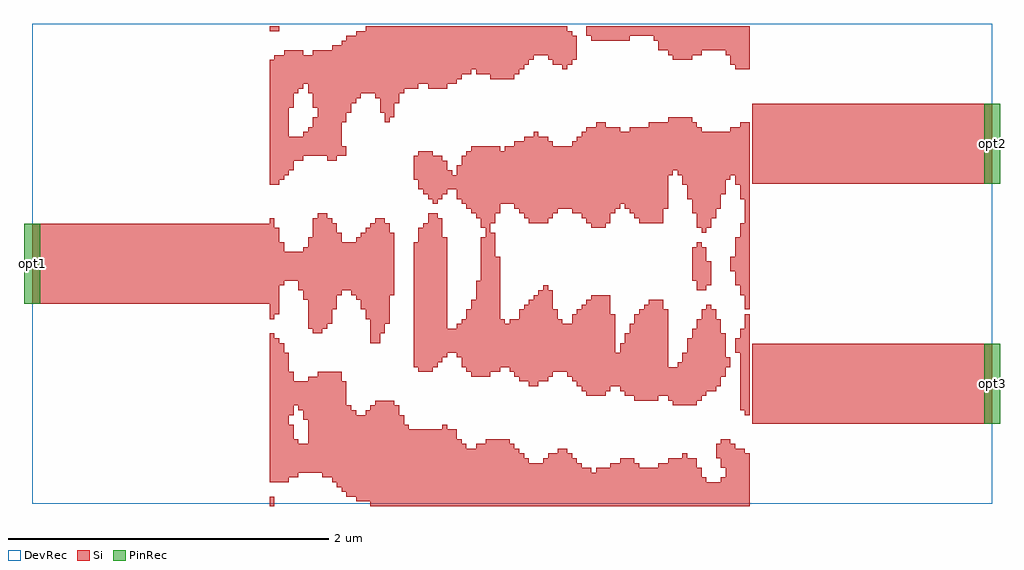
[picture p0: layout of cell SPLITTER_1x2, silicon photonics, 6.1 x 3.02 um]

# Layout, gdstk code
import gdstk
lib = gdstk.Library(unit=1e-6, precision=1e-09)
def R(c, l, rs):  # rectangles x0, y0, x1, y1
    for r in rs: c.add(gdstk.rectangle(r[:2], r[2:], *l))
def A(c, l, x, y, w, h, nx, ny, dx, dy):  # array of equal rectangles
    R(c, l, [(x+i*dx, y+j*dy, x+i*dx+w, y+j*dy+h) for i in range(nx) for j in range(ny)])
Si = (1, 0)
PinRec = (1, 10)
DevRec = (68, 0)

splitter_1x2 = lib.new_cell('SPLITTER_1x2')
A(splitter_1x2, Si, -0.885, -1.515, 0.03, 0.03, 79, 1, 0.03, 0)
A(splitter_1x2, Si, -0.975, -1.485, 0.03, 0.03, 82, 1, 0.03, 0)
A(splitter_1x2, Si, -1.035, -1.455, 0.03, 0.03, 84, 1, 0.03, 0)
A(splitter_1x2, Si, -1.065, -1.425, 0.03, 0.03, 85, 1, 0.03, 0)
A(splitter_1x2, Si, -1.095, -1.395, 0.03, 0.03, 86, 1, 0.03, 0)
A(splitter_1x2, Si, -1.515, -1.365, 0.03, 0.03, 4, 2, 0.03, 0.36)
A(splitter_1x2, Si, -1.125, -1.365, 0.03, 0.03, 78, 1, 0.03, 0)
A(splitter_1x2, Si, 1.305, -1.365, 0.03, 0.03, 6, 2, 0.03, 0.09)
A(splitter_1x2, Si, -1.515, -1.335, 0.03, 0.03, 6, 2, 0.03, 0.21)
A(splitter_1x2, Si, -1.185, -1.335, 0.03, 0.03, 79, 1, 0.03, 0)
A(splitter_1x2, Si, 1.335, -1.335, 0.03, 0.03, 5, 2, 0.03, 0.03)
A(splitter_1x2, Si, -1.515, -1.305, 0.03, 0.03, 67, 1, 0.03, 0)
A(splitter_1x2, Si, 0.525, -1.305, 0.03, 0.03, 22, 1, 0.03, 0)
A(splitter_1x2, Si, -1.515, -1.275, 0.03, 0.03, 65, 1, 0.03, 0)
A(splitter_1x2, Si, 0.615, -1.275, 0.03, 0.03, 6, 1, 0.03, 0)
A(splitter_1x2, Si, 0.915, -1.275, 0.03, 0.03, 8, 1, 0.03, 0)
A(splitter_1x2, Si, -1.515, -1.245, 0.03, 0.03, 54, 2, 0.03, 2.49)
A(splitter_1x2, Si, 0.195, -1.245, 0.03, 0.03, 7, 1, 0.03, 0)
A(splitter_1x2, Si, 0.675, -1.245, 0.03, 0.03, 3, 1, 0.03, 0)
A(splitter_1x2, Si, 0.975, -1.245, 0.03, 0.03, 6, 1, 0.03, 0)
A(splitter_1x2, Si, 1.305, -1.245, 0.03, 0.03, 6, 1, 0.03, 0)
A(splitter_1x2, Si, -1.515, -1.215, 0.03, 0.03, 53, 2, 0.03, 2.43)
A(splitter_1x2, Si, 0.225, -1.215, 0.03, 0.03, 5, 1, 0.03, 0)
A(splitter_1x2, Si, 1.275, -1.215, 0.03, 0.03, 7, 1, 0.03, 0)
A(splitter_1x2, Si, -1.515, -1.185, 0.03, 0.03, 52, 1, 0.03, 0)
A(splitter_1x2, Si, 1.275, -1.185, 0.03, 0.03, 6, 1, 0.03, 0)
A(splitter_1x2, Si, -1.515, -1.155, 0.03, 0.03, 41, 1, 0.03, 0)
A(splitter_1x2, Si, -0.225, -1.155, 0.03, 0.03, 8, 1, 0.03, 0)
A(splitter_1x2, Si, 1.275, -1.155, 0.03, 0.03, 4, 1, 0.03, 0)
A(splitter_1x2, Si, -1.275, -1.125, 0.03, 0.03, 32, 1, 0.03, 0)
A(splitter_1x2, Si, -0.165, -1.125, 0.03, 0.03, 5, 1, 0.03, 0)
A(splitter_1x2, Si, -1.515, -1.095, 0.03, 0.03, 5, 3, 0.03, 0.03)
A(splitter_1x2, Si, -1.275, -1.095, 0.03, 0.03, 31, 2, 0.03, 0.03)
A(splitter_1x2, Si, -1.275, -1.035, 0.03, 0.03, 21, 1, 0.03, 0)
A(splitter_1x2, Si, -1.275, -1.005, 0.03, 0.03, 20, 2, 0.03, 2.07)
A(splitter_1x2, Si, -1.515, -0.975, 0.03, 0.03, 4, 2, 0.03, 0.3)
A(splitter_1x2, Si, -1.305, -0.975, 0.03, 0.03, 21, 1, 0.03, 0)
A(splitter_1x2, Si, -1.515, -0.945, 0.03, 0.03, 5, 2, 0.03, 0.03)
A(splitter_1x2, Si, -1.305, -0.945, 0.03, 0.03, 11, 1, 0.03, 0)
A(splitter_1x2, Si, -0.915, -0.945, 0.03, 0.03, 7, 1, 0.03, 0)
A(splitter_1x2, Si, 1.455, -0.945, 0.03, 0.03, 1, 13, 0, 0.03)
A(splitter_1x2, Si, -1.335, -0.915, 0.03, 0.03, 11, 1, 0.03, 0)
A(splitter_1x2, Si, -0.885, -0.915, 0.03, 0.03, 6, 1, 0.03, 0)
A(splitter_1x2, Si, 1.425, -0.915, 0.03, 0.03, 1, 12, 0, 0.03)
A(splitter_1x2, Si, -1.515, -0.885, 0.03, 0.03, 16, 5, 0.03, 0.03)
A(splitter_1x2, Si, -0.855, -0.885, 0.03, 0.03, 4, 1, 0.03, 0)
A(splitter_1x2, Si, 1.005, -0.885, 0.03, 0.03, 5, 1, 0.03, 0)
A(splitter_1x2, Si, 0.765, -0.855, 0.03, 0.03, 5, 1, 0.03, 0)
A(splitter_1x2, Si, 0.975, -0.855, 0.03, 0.03, 7, 2, 0.03, 2.16)
A(splitter_1x2, Si, 0.465, -0.825, 0.03, 0.03, 4, 1, 0.03, 0)
A(splitter_1x2, Si, 0.705, -0.825, 0.03, 0.03, 17, 1, 0.03, 0)
A(splitter_1x2, Si, 0.435, -0.795, 0.03, 0.03, 6, 2, 0.03, 0.51)
A(splitter_1x2, Si, 0.675, -0.795, 0.03, 0.03, 20, 1, 0.03, 0)
A(splitter_1x2, Si, 0.405, -0.765, 0.03, 0.03, 30, 1, 0.03, 0)
A(splitter_1x2, Si, -1.515, -0.735, 0.03, 0.03, 5, 2, 0.03, 0.03)
A(splitter_1x2, Si, -1.275, -0.735, 0.03, 0.03, 7, 2, 0.03, 0.87)
A(splitter_1x2, Si, 0.045, -0.735, 0.03, 0.03, 6, 1, 0.03, 0)
A(splitter_1x2, Si, 0.375, -0.735, 0.03, 0.03, 31, 1, 0.03, 0)
A(splitter_1x2, Si, -1.215, -0.705, 0.03, 0.03, 5, 1, 0.03, 0)
A(splitter_1x2, Si, -0.255, -0.705, 0.03, 0.03, 4, 1, 0.03, 0)
A(splitter_1x2, Si, 0.015, -0.705, 0.03, 0.03, 8, 2, 0.03, 1.44)
A(splitter_1x2, Si, 0.345, -0.705, 0.03, 0.03, 33, 1, 0.03, 0)
A(splitter_1x2, Si, -0.585, -0.675, 0.03, 0.03, 3, 2, 0.03, 1.35)
A(splitter_1x2, Si, -0.285, -0.675, 0.03, 0.03, 7, 2, 0.03, 0.33)
A(splitter_1x2, Si, -0.015, -0.675, 0.03, 0.03, 45, 1, 0.03, 0)
A(splitter_1x2, Si, -1.515, -0.645, 0.03, 0.03, 4, 3, 0.03, 0.03)
A(splitter_1x2, Si, -0.615, -0.645, 0.03, 0.03, 5, 1, 0.03, 0)
A(splitter_1x2, Si, -0.315, -0.645, 0.03, 0.03, 43, 2, 0.03, 0.03)
A(splitter_1x2, Si, 1.035, -0.645, 0.03, 0.03, 11, 1, 0.03, 0)
A(splitter_1x2, Si, -0.615, -0.615, 0.03, 0.03, 6, 2, 0.03, 1.26)
A(splitter_1x2, Si, 1.065, -0.615, 0.03, 0.03, 10, 2, 0.03, 1.14)
A(splitter_1x2, Si, -0.615, -0.585, 0.03, 0.03, 7, 2, 0.03, 0.18)
A(splitter_1x2, Si, -0.345, -0.585, 0.03, 0.03, 44, 2, 0.03, 0.99)
A(splitter_1x2, Si, 1.065, -0.585, 0.03, 0.03, 9, 2, 0.03, 1.08)
A(splitter_1x2, Si, -1.515, -0.555, 0.03, 0.03, 3, 2, 0.03, 0.03)
A(splitter_1x2, Si, -0.615, -0.555, 0.03, 0.03, 42, 5, 0.03, 0.03)
A(splitter_1x2, Si, 0.675, -0.555, 0.03, 0.03, 10, 2, 0.03, 0.03)
A(splitter_1x2, Si, 1.095, -0.555, 0.03, 0.03, 8, 3, 0.03, 0.03)
A(splitter_1x2, Si, 1.395, -0.555, 0.03, 0.03, 3, 3, 0.03, 0.03)
A(splitter_1x2, Si, 0.705, -0.495, 0.03, 0.03, 9, 2, 0.03, 0.03)
A(splitter_1x2, Si, 1.125, -0.465, 0.03, 0.03, 7, 1, 0.03, 0)
A(splitter_1x2, Si, 1.455, -0.465, 0.03, 0.03, 1, 5, 0, 0.03)
A(splitter_1x2, Si, -0.885, -0.435, 0.03, 0.03, 3, 2, 0.03, 0.03)
A(splitter_1x2, Si, 0.735, -0.435, 0.03, 0.03, 8, 2, 0.03, 0.03)
A(splitter_1x2, Si, 1.125, -0.435, 0.03, 0.03, 6, 2, 0.03, 0.78)
A(splitter_1x2, Si, -1.275, -0.405, 0.03, 0.03, 4, 1, 0.03, 0)
A(splitter_1x2, Si, -0.345, -0.405, 0.03, 0.03, 33, 1, 0.03, 0)
A(splitter_1x2, Si, 1.155, -0.405, 0.03, 0.03, 5, 2, 0.03, 0.03)
A(splitter_1x2, Si, -1.275, -0.375, 0.03, 0.03, 5, 3, 0.03, 0.03)
A(splitter_1x2, Si, -0.885, -0.375, 0.03, 0.03, 4, 2, 0.03, 0.6)
A(splitter_1x2, Si, -0.615, -0.375, 0.03, 0.03, 7, 17, 0.03, 0.03)
A(splitter_1x2, Si, -0.315, -0.375, 0.03, 0.03, 9, 1, 0.03, 0)
A(splitter_1x2, Si, -0.015, -0.375, 0.03, 0.03, 11, 1, 0.03, 0)
A(splitter_1x2, Si, 0.375, -0.375, 0.03, 0.03, 9, 2, 0.03, 0.03)
A(splitter_1x2, Si, 0.765, -0.375, 0.03, 0.03, 7, 2, 0.03, 0.03)
A(splitter_1x2, Si, -1.515, -0.345, 0.03, 0.03, 1, 7, 0, 0.03)
A(splitter_1x2, Si, -0.915, -0.345, 0.03, 0.03, 5, 2, 0.03, 0.03)
A(splitter_1x2, Si, 0.045, -0.345, 0.03, 0.03, 8, 2, 0.03, 0.03)
A(splitter_1x2, Si, 1.185, -0.345, 0.03, 0.03, 3, 2, 0.03, 0.03)
A(splitter_1x2, Si, -1.485, -0.315, 0.03, 0.03, 1, 6, 0, 0.03)
A(splitter_1x2, Si, -0.285, -0.315, 0.03, 0.03, 7, 2, 0.03, 0.66)
A(splitter_1x2, Si, 0.405, -0.315, 0.03, 0.03, 7, 1, 0.03, 0)
A(splitter_1x2, Si, 0.795, -0.315, 0.03, 0.03, 6, 1, 0.03, 0)
A(splitter_1x2, Si, -1.275, -0.285, 0.03, 0.03, 6, 2, 0.03, 0.03)
A(splitter_1x2, Si, -0.945, -0.285, 0.03, 0.03, 6, 2, 0.03, 0.03)
A(splitter_1x2, Si, -0.255, -0.285, 0.03, 0.03, 6, 2, 0.03, 0.03)
A(splitter_1x2, Si, 0.075, -0.285, 0.03, 0.03, 6, 2, 0.03, 0.57)
A(splitter_1x2, Si, 0.825, -0.285, 0.03, 0.03, 4, 1, 0.03, 0)
A(splitter_1x2, Si, 1.455, -0.285, 0.03, 0.03, 1, 5, 0, 0.03)
A(splitter_1x2, Si, 0.105, -0.255, 0.03, 0.03, 5, 1, 0.03, 0)
A(splitter_1x2, Si, 0.465, -0.255, 0.03, 0.03, 5, 2, 0.03, 0.51)
A(splitter_1x2, Si, 0.855, -0.255, 0.03, 0.03, 3, 1, 0.03, 0)
A(splitter_1x2, Si, -1.305, -0.225, 0.03, 0.03, 7, 1, 0.03, 0)
A(splitter_1x2, Si, -0.975, -0.225, 0.03, 0.03, 7, 1, 0.03, 0)
A(splitter_1x2, Si, -0.225, -0.225, 0.03, 0.03, 5, 4, 0.03, 0.03)
A(splitter_1x2, Si, 0.135, -0.225, 0.03, 0.03, 4, 1, 0.03, 0)
A(splitter_1x2, Si, 0.495, -0.225, 0.03, 0.03, 4, 1, 0.03, 0)
A(splitter_1x2, Si, -1.305, -0.195, 0.03, 0.03, 8, 2, 0.03, 0.99)
A(splitter_1x2, Si, -1.005, -0.195, 0.03, 0.03, 9, 1, 0.03, 0)
A(splitter_1x2, Si, 0.165, -0.195, 0.03, 0.03, 3, 1, 0.03, 0)
A(splitter_1x2, Si, -1.335, -0.165, 0.03, 0.03, 20, 2, 0.03, 0.03)
A(splitter_1x2, Si, -1.515, -0.135, 0.03, 0.03, 3, 2, 0.03, 0.21)
A(splitter_1x2, Si, 1.155, -0.135, 0.03, 0.03, 3, 2, 0.03, 0.36)
A(splitter_1x2, Si, 1.395, -0.135, 0.03, 0.03, 3, 3, 0.03, 0.03)
A(splitter_1x2, Si, -1.515, -0.105, 0.03, 0.03, 26, 6, 0.03, 0.03)
A(splitter_1x2, Si, -0.195, -0.105, 0.03, 0.03, 4, 5, 0.03, 0.03)
A(splitter_1x2, Si, 1.125, -0.105, 0.03, 0.03, 4, 4, 0.03, 0.03)
A(splitter_1x2, Si, 1.365, -0.045, 0.03, 0.03, 4, 3, 0.03, 0.03)
A(splitter_1x2, Si, 1.125, 0.015, 0.03, 0.03, 3, 3, 0.03, 0.03)
A(splitter_1x2, Si, -0.195, 0.045, 0.03, 0.03, 3, 4, 0.03, 0.03)
A(splitter_1x2, Si, 1.395, 0.045, 0.03, 0.03, 3, 4, 0.03, 0.03)
A(splitter_1x2, Si, -1.305, 0.075, 0.03, 0.03, 19, 1, 0.03, 0)
A(splitter_1x2, Si, -1.515, 0.105, 0.03, 0.03, 3, 2, 0.03, 0.42)
A(splitter_1x2, Si, -1.275, 0.105, 0.03, 0.03, 18, 1, 0.03, 0)
A(splitter_1x2, Si, -1.515, 0.135, 0.03, 0.03, 1, 5, 0, 0.03)
A(splitter_1x2, Si, -1.485, 0.135, 0.03, 0.03, 1, 3, 0, 0.03)
A(splitter_1x2, Si, -0.975, 0.135, 0.03, 0.03, 8, 1, 0.03, 0)
A(splitter_1x2, Si, -0.585, 0.135, 0.03, 0.03, 6, 1, 0.03, 0)
A(splitter_1x2, Si, -1.245, 0.165, 0.03, 0.03, 6, 2, 0.03, 0.69)
A(splitter_1x2, Si, -0.945, 0.165, 0.03, 0.03, 7, 1, 0.03, 0)
A(splitter_1x2, Si, -0.585, 0.165, 0.03, 0.03, 5, 2, 0.03, 0.03)
A(splitter_1x2, Si, -0.165, 0.165, 0.03, 0.03, 1, 3, 0, 0.03)
A(splitter_1x2, Si, 1.425, 0.165, 0.03, 0.03, 1, 3, 0, 0.03)
A(splitter_1x2, Si, 1.455, 0.165, 0.03, 0.03, 1, 11, 0, 0.03)
A(splitter_1x2, Si, -1.245, 0.195, 0.03, 0.03, 5, 2, 0.03, 0.03)
A(splitter_1x2, Si, -0.915, 0.195, 0.03, 0.03, 5, 1, 0.03, 0)
A(splitter_1x2, Si, -0.555, 0.225, 0.03, 0.03, 4, 1, 0.03, 0)
A(splitter_1x2, Si, 0.495, 0.225, 0.03, 0.03, 3, 1, 0.03, 0)
A(splitter_1x2, Si, -1.245, 0.255, 0.03, 0.03, 4, 1, 0.03, 0)
A(splitter_1x2, Si, -0.525, 0.255, 0.03, 0.03, 3, 2, 0.03, 0.15)
A(splitter_1x2, Si, -0.195, 0.255, 0.03, 0.03, 3, 1, 0.03, 0)
A(splitter_1x2, Si, 0.105, 0.255, 0.03, 0.03, 4, 1, 0.03, 0)
A(splitter_1x2, Si, 0.795, 0.255, 0.03, 0.03, 5, 1, 0.03, 0)
A(splitter_1x2, Si, 1.155, 0.255, 0.03, 0.03, 3, 1, 0.03, 0)
A(splitter_1x2, Si, -0.225, 0.285, 0.03, 0.03, 4, 1, 0.03, 0)
A(splitter_1x2, Si, 0.435, 0.285, 0.03, 0.03, 6, 1, 0.03, 0)
A(splitter_1x2, Si, 0.765, 0.285, 0.03, 0.03, 6, 1, 0.03, 0)
A(splitter_1x2, Si, 1.155, 0.285, 0.03, 0.03, 4, 1, 0.03, 0)
A(splitter_1x2, Si, -0.255, 0.315, 0.03, 0.03, 6, 2, 0.03, 0.39)
A(splitter_1x2, Si, 0.045, 0.315, 0.03, 0.03, 8, 1, 0.03, 0)
A(splitter_1x2, Si, 0.375, 0.315, 0.03, 0.03, 9, 1, 0.03, 0)
A(splitter_1x2, Si, 0.735, 0.315, 0.03, 0.03, 7, 1, 0.03, 0)
A(splitter_1x2, Si, 1.125, 0.315, 0.03, 0.03, 5, 1, 0.03, 0)
A(splitter_1x2, Si, 0.015, 0.345, 0.03, 0.03, 22, 1, 0.03, 0)
A(splitter_1x2, Si, 0.705, 0.345, 0.03, 0.03, 9, 1, 0.03, 0)
A(splitter_1x2, Si, -0.315, 0.375, 0.03, 0.03, 43, 1, 0.03, 0)
A(splitter_1x2, Si, 1.125, 0.375, 0.03, 0.03, 6, 1, 0.03, 0)
A(splitter_1x2, Si, 1.095, 0.405, 0.03, 0.03, 7, 1, 0.03, 0)
A(splitter_1x2, Si, 1.425, 0.405, 0.03, 0.03, 1, 3, 0, 0.03)
A(splitter_1x2, Si, -0.555, 0.435, 0.03, 0.03, 5, 1, 0.03, 0)
A(splitter_1x2, Si, -0.345, 0.435, 0.03, 0.03, 44, 1, 0.03, 0)
A(splitter_1x2, Si, 1.095, 0.435, 0.03, 0.03, 8, 2, 0.03, 0.03)
A(splitter_1x2, Si, -0.585, 0.465, 0.03, 0.03, 52, 2, 0.03, 0.03)
A(splitter_1x2, Si, 1.395, 0.495, 0.03, 0.03, 3, 2, 0.03, 0.03)
A(splitter_1x2, Si, -0.615, 0.525, 0.03, 0.03, 53, 1, 0.03, 0)
A(splitter_1x2, Si, -1.515, 0.555, 0.03, 0.03, 4, 2, 0.03, 0.24)
A(splitter_1x2, Si, -0.615, 0.555, 0.03, 0.03, 8, 1, 0.03, 0)
A(splitter_1x2, Si, -0.345, 0.555, 0.03, 0.03, 45, 1, 0.03, 0)
A(splitter_1x2, Si, 1.035, 0.555, 0.03, 0.03, 15, 1, 0.03, 0)
A(splitter_1x2, Si, -1.515, 0.585, 0.03, 0.03, 5, 2, 0.03, 0.03)
A(splitter_1x2, Si, -0.615, 0.585, 0.03, 0.03, 7, 2, 0.03, 0.03)
A(splitter_1x2, Si, -0.345, 0.585, 0.03, 0.03, 61, 1, 0.03, 0)
A(splitter_1x2, Si, -0.315, 0.615, 0.03, 0.03, 60, 2, 0.03, 0.03)
A(splitter_1x2, Si, -1.515, 0.645, 0.03, 0.03, 7, 2, 0.03, 0.45)
A(splitter_1x2, Si, -1.515, 0.675, 0.03, 0.03, 16, 2, 0.03, 0.03)
A(splitter_1x2, Si, -0.285, 0.675, 0.03, 0.03, 59, 1, 0.03, 0)
A(splitter_1x2, Si, -0.045, 0.705, 0.03, 0.03, 51, 1, 0.03, 0)
A(splitter_1x2, Si, -1.515, 0.735, 0.03, 0.03, 15, 2, 0.03, 0.03)
A(splitter_1x2, Si, 0.375, 0.735, 0.03, 0.03, 37, 1, 0.03, 0)
A(splitter_1x2, Si, 0.075, 0.765, 0.03, 0.03, 5, 1, 0.03, 0)
A(splitter_1x2, Si, 0.405, 0.765, 0.03, 0.03, 36, 1, 0.03, 0)
A(splitter_1x2, Si, 0.435, 0.795, 0.03, 0.03, 35, 1, 0.03, 0)
A(splitter_1x2, Si, -1.515, 0.825, 0.03, 0.03, 4, 5, 0.03, 0.03)
A(splitter_1x2, Si, -1.275, 0.825, 0.03, 0.03, 7, 1, 0.03, 0)
A(splitter_1x2, Si, 0.465, 0.825, 0.03, 0.03, 7, 1, 0.03, 0)
A(splitter_1x2, Si, 0.735, 0.825, 0.03, 0.03, 15, 1, 0.03, 0)
A(splitter_1x2, Si, 1.365, 0.825, 0.03, 0.03, 4, 2, 0.03, 0.42)
A(splitter_1x2, Si, 0.855, 0.855, 0.03, 0.03, 10, 1, 0.03, 0)
A(splitter_1x2, Si, -1.245, 0.885, 0.03, 0.03, 7, 1, 0.03, 0)
A(splitter_1x2, Si, 0.975, 0.885, 0.03, 0.03, 5, 1, 0.03, 0)
A(splitter_1x2, Si, -1.215, 0.915, 0.03, 0.03, 6, 1, 0.03, 0)
A(splitter_1x2, Si, -1.215, 0.945, 0.03, 0.03, 7, 1, 0.03, 0)
A(splitter_1x2, Si, -0.825, 0.945, 0.03, 0.03, 3, 2, 0.03, 0.03)
A(splitter_1x2, Si, -1.515, 0.975, 0.03, 0.03, 5, 3, 0.03, 0.03)
A(splitter_1x2, Si, -1.245, 0.975, 0.03, 0.03, 8, 1, 0.03, 0)
A(splitter_1x2, Si, -1.245, 1.005, 0.03, 0.03, 9, 1, 0.03, 0)
A(splitter_1x2, Si, -0.825, 1.005, 0.03, 0.03, 4, 1, 0.03, 0)
A(splitter_1x2, Si, -1.245, 1.035, 0.03, 0.03, 10, 1, 0.03, 0)
A(splitter_1x2, Si, -0.855, 1.035, 0.03, 0.03, 5, 1, 0.03, 0)
A(splitter_1x2, Si, -1.515, 1.065, 0.03, 0.03, 6, 1, 0.03, 0)
A(splitter_1x2, Si, -1.275, 1.095, 0.03, 0.03, 23, 1, 0.03, 0)
A(splitter_1x2, Si, -0.525, 1.095, 0.03, 0.03, 4, 1, 0.03, 0)
A(splitter_1x2, Si, -1.515, 1.125, 0.03, 0.03, 39, 1, 0.03, 0)
A(splitter_1x2, Si, -1.515, 1.155, 0.03, 0.03, 40, 1, 0.03, 0)
A(splitter_1x2, Si, -0.135, 1.155, 0.03, 0.03, 5, 1, 0.03, 0)
A(splitter_1x2, Si, -1.515, 1.185, 0.03, 0.03, 42, 1, 0.03, 0)
A(splitter_1x2, Si, -0.225, 1.185, 0.03, 0.03, 9, 1, 0.03, 0)
A(splitter_1x2, Si, 1.395, 1.215, 0.03, 0.03, 3, 1, 0.03, 0)
A(splitter_1x2, Si, 0.255, 1.245, 0.03, 0.03, 4, 1, 0.03, 0)
A(splitter_1x2, Si, -1.485, 1.275, 0.03, 0.03, 54, 1, 0.03, 0)
A(splitter_1x2, Si, 0.225, 1.275, 0.03, 0.03, 6, 1, 0.03, 0)
A(splitter_1x2, Si, 1.005, 1.275, 0.03, 0.03, 4, 1, 0.03, 0)
A(splitter_1x2, Si, 1.365, 1.275, 0.03, 0.03, 4, 1, 0.03, 0)
A(splitter_1x2, Si, -1.425, 1.305, 0.03, 0.03, 4, 1, 0.03, 0)
A(splitter_1x2, Si, -1.245, 1.305, 0.03, 0.03, 55, 1, 0.03, 0)
A(splitter_1x2, Si, 1.335, 1.305, 0.03, 0.03, 5, 1, 0.03, 0)
A(splitter_1x2, Si, -1.125, 1.335, 0.03, 0.03, 51, 1, 0.03, 0)
A(splitter_1x2, Si, 0.915, 1.335, 0.03, 0.03, 19, 2, 0.03, 0.03)
A(splitter_1x2, Si, -1.065, 1.365, 0.03, 0.03, 49, 1, 0.03, 0)
A(splitter_1x2, Si, -1.035, 1.395, 0.03, 0.03, 48, 1, 0.03, 0)
A(splitter_1x2, Si, 0.495, 1.395, 0.03, 0.03, 8, 1, 0.03, 0)
A(splitter_1x2, Si, 0.885, 1.395, 0.03, 0.03, 20, 1, 0.03, 0)
A(splitter_1x2, Si, -0.975, 1.425, 0.03, 0.03, 45, 1, 0.03, 0)
A(splitter_1x2, Si, 0.465, 1.425, 0.03, 0.03, 34, 2, 0.03, 0.03)
A(splitter_1x2, Si, -0.915, 1.455, 0.03, 0.03, 42, 1, 0.03, 0)
R(splitter_1x2, Si, [(-1.515,-1.515,-1.485,-1.485), (-1.515,-1.485,-1.485,-1.455), (1.065,-1.215,1.095,-1.185), (0.285,-1.185,0.315,-1.155), (0.315,-1.185,0.345,-1.155), (1.305,-1.125,1.335,-1.095), (1.335,-1.125,1.365,-1.095), (-0.435,-1.035,-0.405,-1.005), (1.5,-1,3,-0.5), (0.105,-0.765,0.135,-0.735), (0.135,-0.765,0.165,-0.735), (-1.515,-0.495,-1.485,-0.465), (-1.485,-0.495,-1.455,-0.465), (-0.885,-0.495,-0.855,-0.465), (-0.855,-0.495,-0.825,-0.465), (-1.515,-0.465,-1.485,-0.435), (-0.885,-0.465,-0.855,-0.435), (-0.855,-0.465,-0.825,-0.435), (1.425,-0.465,1.455,-0.435), (-1.245,-0.435,-1.215,-0.405), (-1.215,-0.435,-1.185,-0.405), (1.425,-0.435,1.455,-0.405), (1.215,-0.285,1.245,-0.255), (-3,-0.25,-1.5,0.25), (1.425,-0.195,1.455,-0.165), (0.195,-0.165,0.225,-0.135), (1.155,-0.165,1.185,-0.135), (1.185,-0.165,1.215,-0.135), (1.425,-0.165,1.455,-0.135), (1.155,0.105,1.185,0.135), (-0.135,0.165,-0.105,0.195), (1.185,0.195,1.215,0.225), (-0.195,0.225,-0.165,0.255), (-0.855,0.255,-0.825,0.285), (-0.825,0.255,-0.795,0.285), (-1.215,0.285,-1.185,0.315), (-1.185,0.285,-1.155,0.315), (-0.525,0.285,-0.495,0.315), (-0.495,0.285,-0.465,0.315), (-0.495,0.375,-0.465,0.405), (-1.515,0.495,-1.485,0.525), (-1.485,0.495,-1.455,0.525), (1.5,0.5,3,1), (-1.155,0.645,-1.125,0.675), (-1.125,0.645,-1.095,0.675), (0.135,0.795,0.165,0.825), (0.525,0.855,0.555,0.885), (0.555,0.855,0.585,0.885), (1.425,0.855,1.455,0.885), (1.455,0.855,1.485,0.885), (-0.795,0.885,-0.765,0.915), (-0.795,0.915,-0.765,0.945), (-0.765,0.915,-0.735,0.945), (0.315,1.215,0.345,1.245), (-1.515,1.455,-1.485,1.485), (-1.485,1.455,-1.455,1.485)])
R(splitter_1x2, DevRec, [(-3,-1.5,3,1.5)])
splitter_1x2.add(gdstk.FlexPath([(-2.95,0),(-3.05,0)], 0.5, ends="flush", simple_path=True, layer=1, datatype=10))  # PinRec
splitter_1x2.add(gdstk.FlexPath([(2.95,0.75),(3.05,0.75)], 0.5, ends="flush", simple_path=True, layer=1, datatype=10))  # PinRec
splitter_1x2.add(gdstk.FlexPath([(2.95,-0.75),(3.05,-0.75)], 0.5, ends="flush", simple_path=True, layer=1, datatype=10))  # PinRec
splitter_1x2.add(gdstk.Label('SPLITTER_INVDES', (-3,2), layer=10, texttype=0))
splitter_1x2.add(gdstk.Label('opt1', (-3,0), layer=1, texttype=10))
splitter_1x2.add(gdstk.Label('opt2', (3,0.75), layer=1, texttype=10))
splitter_1x2.add(gdstk.Label('opt3', (3,-0.75), layer=1, texttype=10))

lib.write_gds('SPLITTER_1x2.gds')
